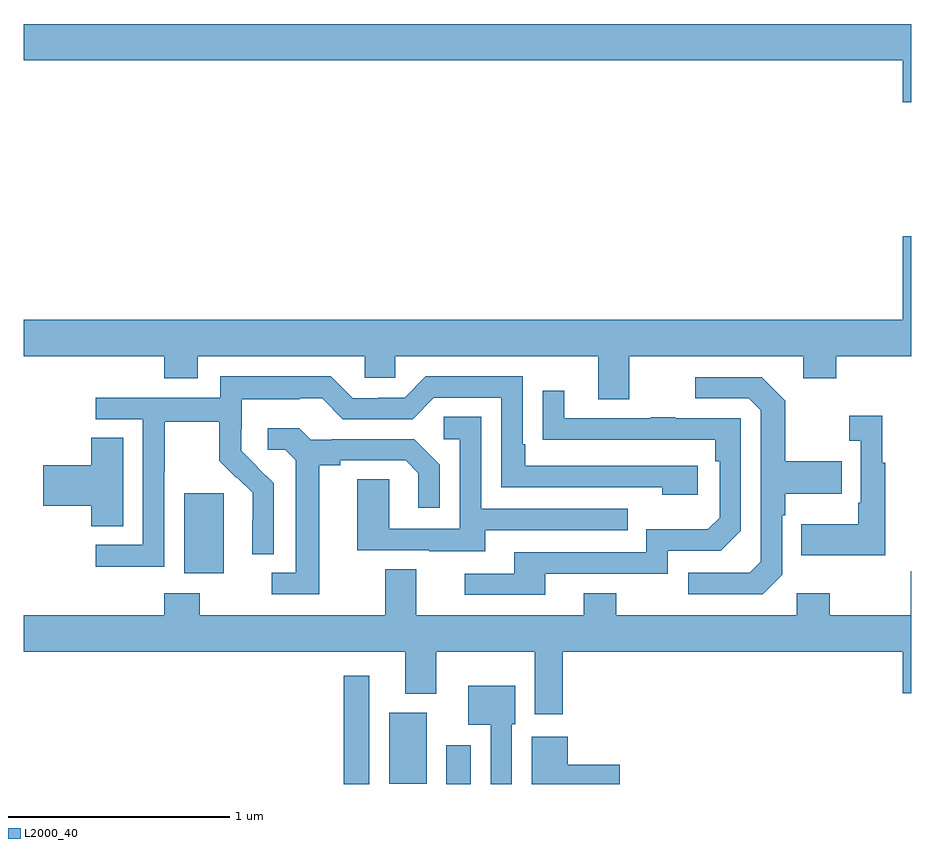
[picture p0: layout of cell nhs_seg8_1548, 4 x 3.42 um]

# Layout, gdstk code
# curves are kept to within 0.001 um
import gdstk
lib = gdstk.Library(unit=1e-6, precision=1e-09)
def R(c, l, rs):  # rectangles x0, y0, x1, y1
    for r in rs: c.add(gdstk.rectangle(r[:2], r[2:], *l))
def P(c, l, *ps):  # polygons
    for p in ps: c.add(gdstk.Polygon(p, *l))
L2000_40 = (2000, 40)

nhs_seg8_1548 = lib.new_cell('nhs_seg8_1548')
R(nhs_seg8_1548, L2000_40, [(210.442,1119.9,210.558,1120.387), (210.905,1119.9,211.015,1120.075), (210.647,1119.902,210.817,1120.222), (209.723,1120.85,209.902,1121.211)])
P(nhs_seg8_1548, L2000_40, [(213,1123.324),(209,1123.324),(209,1123.16),(212.96,1123.16),(212.96,1122.972),(213,1122.972)],
  [(211.729,1121.828),(212.513,1121.828),(212.513,1121.729),(212.661,1121.729),(212.661,1121.828),(213,1121.828),(213,1122.367),(212.96,1122.367),(212.96,1121.992),(209,1121.992),(209,1121.828),(209.633,1121.828),(209.633,1121.729),(209.785,1121.729),(209.785,1121.828),(210.537,1121.828),(210.537,1121.73),(210.675,1121.73),(210.675,1121.828),(211.589,1121.828),(211.589,1121.634),(211.729,1121.634)],
  [(209.634,1121.308),(209.637,1121.308),(209.637,1121.532),(209.881,1121.532),(209.881,1121.357),(209.958,1121.28),(209.961,1121.283),(210.032,1121.213),(210.032,1121.09),(210.03,1121.09),(210.03,1120.936),(210.126,1120.936),(210.126,1121.254),(209.98,1121.402),(209.98,1121.499),(209.982,1121.499),(209.982,1121.633),(210.245,1121.633),(210.245,1121.637),(210.345,1121.637),(210.438,1121.544),(210.753,1121.544),(210.849,1121.64),(211.152,1121.64),(211.152,1121.238),(211.877,1121.238),(211.877,1121.204),(212.038,1121.204),(212.038,1121.334),(211.261,1121.334),(211.261,1121.431),(211.248,1121.431),(211.248,1121.736),(210.813,1121.736),(210.717,1121.64),(210.599,1121.64),(210.599,1121.637),(210.483,1121.637),(210.383,1121.737),(209.886,1121.737),(209.886,1121.64),(209.325,1121.64),(209.325,1121.544),(209.538,1121.544),(209.538,1120.977),(209.325,1120.977),(209.325,1120.879),(209.634,1120.879)],
  [(212.418,1120.842),(212.418,1121.111),(212.431,1121.111),(212.431,1121.207),(212.687,1121.207),(212.687,1121.355),(212.431,1121.355),(212.431,1121.627),(212.325,1121.733),(212.025,1121.733),(212.025,1121.637),(212.268,1121.637),(212.322,1121.583),(212.322,1120.902),(212.271,1120.851),(211.995,1120.851),(211.995,1120.755),(212.331,1120.755)],
  [(211.351,1120.848),(211.902,1120.848),(211.902,1120.95),(212.142,1120.95),(212.232,1121.04),(212.232,1121.547),(211.937,1121.547),(211.937,1121.552),(211.825,1121.552),(211.825,1121.547),(211.435,1121.547),(211.435,1121.671),(211.339,1121.671),(211.339,1121.452),(212.116,1121.451),(212.116,1121.354),(212.136,1121.354),(212.136,1121.1),(212.083,1121.047),(211.806,1121.047),(211.806,1120.944),(211.211,1120.944),(211.211,1120.848),(210.987,1120.848),(210.987,1120.752),(211.351,1120.752)],
  [(212.881,1121.347),(212.869,1121.347),(212.869,1121.56),(212.721,1121.56),(212.721,1121.447),(212.772,1121.447),(212.772,1121.167),(212.76,1121.167),(212.76,1121.071),(212.503,1121.071),(212.503,1120.931),(212.881,1120.931)],
  [(211.081,1121.043),(211.721,1121.043),(211.721,1121.139),(211.062,1121.139),(211.062,1121.555),(210.894,1121.555),(210.894,1121.454),(210.966,1121.454),(210.966,1121.049),(210.648,1121.049),(210.648,1121.273),(210.503,1121.273),(210.503,1120.953),(210.827,1120.953),(210.827,1120.949),(211.081,1120.949)],
  [(210.331,1121.336),(210.427,1121.336),(210.427,1121.358),(210.722,1121.358),(210.779,1121.301),(210.779,1121.145),(210.876,1121.145),(210.876,1121.338),(210.76,1121.454),(210.388,1121.454),(210.388,1121.451),(210.294,1121.451),(210.242,1121.503),(210.099,1121.503),(210.099,1121.406),(210.18,1121.406),(210.227,1121.359),(210.227,1120.851),(210.117,1120.851),(210.117,1120.755),(210.331,1120.755)],
  [(209.449,1121.459),(209.306,1121.459),(209.306,1121.336),(209.088,1121.336),(209.088,1121.153),(209.306,1121.153),(209.306,1121.062),(209.449,1121.062)],
  [(211.43,1120.496),(212.96,1120.496),(212.96,1120.308),(213,1120.308),(213,1120.859),(212.998,1120.859),(212.998,1120.66),(212.631,1120.66),(212.631,1120.759),(212.484,1120.759),(212.484,1120.66),(211.671,1120.66),(211.671,1120.759),(211.523,1120.759),(211.523,1120.66),(210.769,1120.66),(210.769,1120.868),(210.629,1120.868),(210.629,1120.66),(209.793,1120.66),(209.793,1120.759),(209.633,1120.759),(209.633,1120.66),(209,1120.66),(209,1120.496),(210.719,1120.496),(210.719,1120.307),(210.859,1120.307),(210.859,1120.496),(211.304,1120.496),(211.304,1120.215),(211.43,1120.215)],
  [(211.2,1120.17),(211.216,1120.17),(211.216,1120.342),(211.004,1120.342),(211.004,1120.166),(211.104,1120.166),(211.104,1119.9),(211.2,1119.9)],
  [(211.687,1119.986),(211.451,1119.986),(211.451,1120.114),(211.289,1120.114),(211.289,1119.9),(211.687,1119.9)])

lib.write_gds('nhs_seg8_1548.gds')
